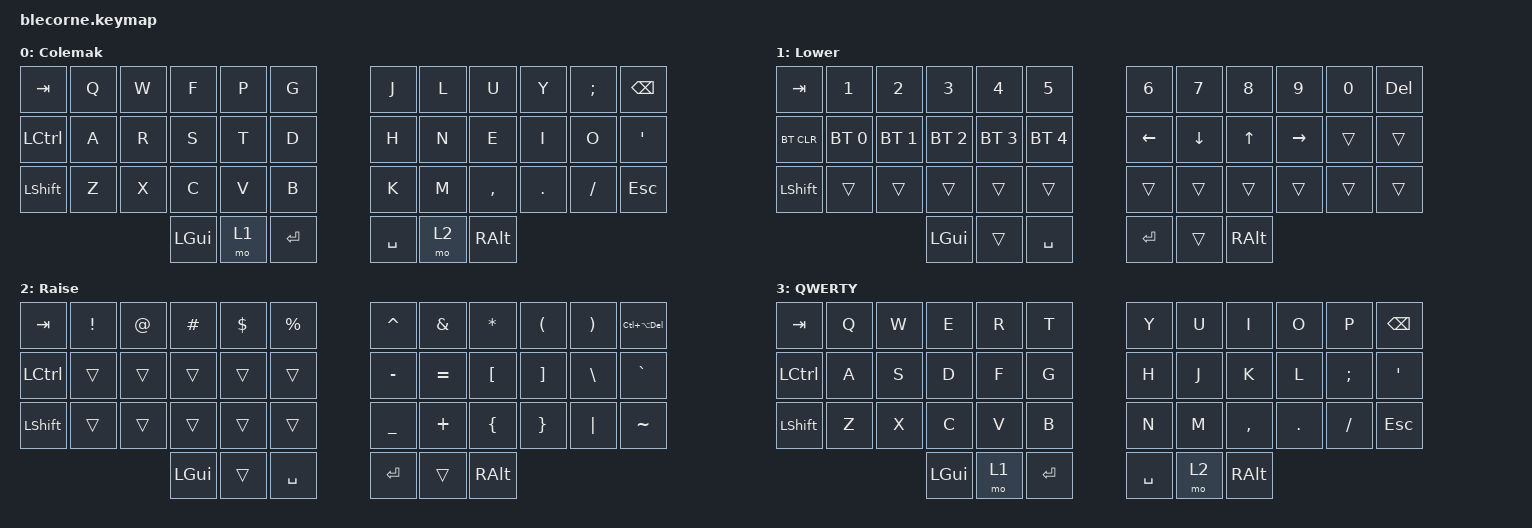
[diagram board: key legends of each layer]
/*
 * Copyright (c) 2020 The ZMK Contributors
 * SPDX-License-Identifier: MIT
 */

#include <behaviors.dtsi>
#include <dt-bindings/zmk/keys.h>
#include <dt-bindings/zmk/bt.h>

/ {
    chosen {
        zmk,physical-layout = &foostan_corne_6col_layout;
    };
};

/ {
    combos {
        compatible = "zmk,combos";
        combo_qwerty_toggle {
            timeout-ms = <50>;
            key-positions = <37 40>;
            bindings = <&tog 3>;
        };
    };

    keymap {
        compatible = "zmk,keymap";

        default_layer {
            display-name = "Colemak";
            bindings = <
                &kp TAB    &kp Q  &kp W  &kp F  &kp P  &kp G       &kp J  &kp L  &kp U     &kp Y   &kp SEMI &kp BSPC
                &kp LCTRL  &kp A  &kp R  &kp S  &kp T  &kp D       &kp H  &kp N  &kp E     &kp I   &kp O    &kp SQT
                &kp LSHFT  &kp Z  &kp X  &kp C  &kp V  &kp B       &kp K  &kp M  &kp COMMA &kp DOT &kp FSLH &kp ESC
                                  &kp LGUI &mo 1 &kp RET  &kp SPACE &mo 2  &kp RALT
            >;
        };

        lower_layer {
            display-name = "Lower";
            bindings = <
                &kp TAB    &kp N1       &kp N2       &kp N3       &kp N4       &kp N5       &kp N6   &kp N7   &kp N8 &kp N9    &kp N0 &kp DEL
                &bt BT_CLR &bt BT_SEL 0 &bt BT_SEL 1 &bt BT_SEL 2 &bt BT_SEL 3 &bt BT_SEL 4 &kp LEFT &kp DOWN &kp UP &kp RIGHT &trans &trans
                &kp LSHFT  &trans       &trans       &trans       &trans       &trans       &trans   &trans   &trans &trans    &trans &trans
                                        &kp LGUI     &trans       &kp SPACE    &kp RET      &trans   &kp RALT
            >;
        };

        raise_layer {
            display-name = "Raise";
            bindings = <
                &kp TAB   &kp EXCL &kp AT &kp HASH &kp DLLR &kp PRCNT &kp CARET &kp AMPS  &kp ASTRK &kp LPAR &kp RPAR &kp LC(LA(DELETE))
                &kp LCTRL &trans   &trans &trans   &trans   &trans    &kp MINUS &kp EQUAL &kp LBKT  &kp RBKT &kp BSLH &kp GRAVE
                &kp LSHFT &trans   &trans &trans   &trans   &trans    &kp UNDER &kp PLUS  &kp LBRC  &kp RBRC &kp PIPE &kp TILDE
                                   &kp LGUI &trans  &kp SPACE &kp RET  &trans    &kp RALT
            >;
        };

        qwerty_layer {
            display-name = "QWERTY";
            bindings = <
                &kp TAB    &kp Q  &kp W  &kp E  &kp R  &kp T       &kp Y  &kp U  &kp I     &kp O   &kp P    &kp BSPC
                &kp LCTRL  &kp A  &kp S  &kp D  &kp F  &kp G       &kp H  &kp J  &kp K     &kp L   &kp SEMI &kp SQT
                &kp LSHFT  &kp Z  &kp X  &kp C  &kp V  &kp B       &kp N  &kp M  &kp COMMA &kp DOT &kp FSLH &kp ESC
                                  &kp LGUI &mo 1 &kp RET  &kp SPACE &mo 2  &kp RALT
            >;
        };
    };
};
